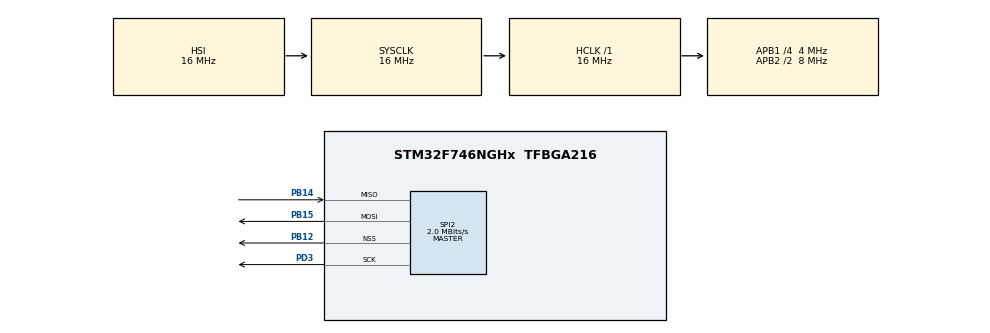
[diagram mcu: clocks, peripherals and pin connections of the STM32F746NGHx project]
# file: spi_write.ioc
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Mcu.Family=STM32F7
Mcu.Name=STM32F746NGHx
Mcu.Package=TFBGA216
NVIC.PriorityGroup=NVIC_PRIORITYGROUP_4
PB12.Mode=NSS_Signal_Hard_Output
PB12.Signal=SPI2_NSS
PB14.Mode=Full_Duplex_Master
PB14.Signal=SPI2_MISO
PB15.Mode=Full_Duplex_Master
PB15.Signal=SPI2_MOSI
PD3.Mode=Full_Duplex_Master
PD3.Signal=SPI2_SCK
PH0/OSC_IN.Mode=HSE-External-Oscillator
PH0/OSC_IN.Signal=RCC_OSC_IN
PH1/OSC_OUT.Mode=HSE-External-Oscillator
PH1/OSC_OUT.Signal=RCC_OSC_OUT
ProjectManager.HeapSize=0x200
ProjectManager.StackSize=0x400
ProjectManager.TargetToolchain=STM32CubeIDE
RCC.AHBFreq_Value=16000000
RCC.APB1CLKDivider=RCC_HCLK_DIV4
RCC.APB1Freq_Value=4000000
RCC.APB1TimFreq_Value=8000000
RCC.APB2CLKDivider=RCC_HCLK_DIV2
RCC.APB2Freq_Value=8000000
RCC.APB2TimFreq_Value=16000000
RCC.CortexFreq_Value=16000000
RCC.HCLKFreq_Value=16000000
RCC.HSE_VALUE=25000000
RCC.HSI_VALUE=16000000
RCC.PLL48CLockSelection=RCC_CLK48SOURCE_PLLSAIP
RCC.PLLI2SN=100
RCC.PLLM=25
RCC.PLLN=400
RCC.PLLQ=9
RCC.PLLSAIN=384
RCC.PLLSAIP=RCC_PLLSAIP_DIV8
RCC.PLLSAIR=5
RCC.PLLSAIRDiv=RCC_PLLSAIDIVR_8
RCC.SDMMCClockSelection=RCC_SDMMC1CLKSOURCE_CLK48
RCC.SYSCLKFreq_VALUE=16000000
RCC.USBFreq_Value=30720000
RCC.VCOOutputFreq_Value=256000000
SPI2.CalculateBaudRate=2.0 MBits/s
SPI2.DataSize=SPI_DATASIZE_8BIT
SPI2.Direction=SPI_DIRECTION_2LINES
SPI2.Mode=SPI_MODE_MASTER
SPI2.VirtualNSS=VM_NSSHARD
SPI2.VirtualType=VM_MASTER
board=STM32F746G-DISCO

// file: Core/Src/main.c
/* USER CODE BEGIN Header */
/**
  ******************************************************************************
  * @file           : main.c
  * @brief          : Main program body
  ******************************************************************************
  * @attention
  *
  * Copyright (c) 2025 STMicroelectronics.
  * All rights reserved.
  *
  * This software is licensed under terms that can be found in the LICENSE file
  * in the root directory of this software component.
  * If no LICENSE file comes with this software, it is provided AS-IS.
  *
  ******************************************************************************
  */
/* USER CODE END Header */
#include "main.h"

SPI_HandleTypeDef hspi2;

/* USER CODE BEGIN PV */
uint16_t read_value=0;
uint16_t debug_buffer=0;
uint8_t target_register=0x91;
uint8_t write_target_register=0x11;
uint8_t write_data= 0x80;
uint8_t write_debug_buffer;
uint8_t write_value;
/* USER CODE END PV */

void SystemClock_Config(void);
static void MX_GPIO_Init(void);
static void MX_SPI2_Init(void);
/* USER CODE BEGIN PFP */
void AD7779_ReadRegister(uint8_t reg);
void AD7779_WriteRegister(uint8_t reg, uint8_t data);
/* USER CODE END PFP */

int main(void)
{

  /* MCU Configuration--------------------------------------------------------*/

  /* Reset of all peripherals, Initializes the Flash interface and the Systick. */
  HAL_Init();

  /* Configure the system clock */
  SystemClock_Config();

  /* Initialize all configured peripherals */
  MX_GPIO_Init();
  MX_SPI2_Init();
  /* USER CODE BEGIN 2 */
  AD7779_ReadRegister(target_register);
  read_value = debug_buffer;
  AD7779_WriteRegister(write_target_register, write_data);
  HAL_Delay(200);
  AD7779_ReadRegister(target_register);
  read_value = debug_buffer;

  /* USER CODE END 2 */

  /* Infinite loop */
  while (1)
  {

  }
}

void SystemClock_Config(void)
{
  RCC_OscInitTypeDef RCC_OscInitStruct = {0};
  RCC_ClkInitTypeDef RCC_ClkInitStruct = {0};

  /** Configure the main internal regulator output voltage
  */
  __HAL_RCC_PWR_CLK_ENABLE();
  __HAL_PWR_VOLTAGESCALING_CONFIG(PWR_REGULATOR_VOLTAGE_SCALE3);

  /** Initializes the RCC Oscillators according to the specified parameters
  * in the RCC_OscInitTypeDef structure.
  */
  RCC_OscInitStruct.OscillatorType = RCC_OSCILLATORTYPE_HSI;
  RCC_OscInitStruct.HSIState = RCC_HSI_ON;
  RCC_OscInitStruct.HSICalibrationValue = RCC_HSICALIBRATION_DEFAULT;
  RCC_OscInitStruct.PLL.PLLState = RCC_PLL_NONE;
  if (HAL_RCC_OscConfig(&RCC_OscInitStruct) != HAL_OK)
  {
    Error_Handler();
  }

  /** Initializes the CPU, AHB and APB buses clocks
  */
  RCC_ClkInitStruct.ClockType = RCC_CLOCKTYPE_HCLK|RCC_CLOCKTYPE_SYSCLK
                              |RCC_CLOCKTYPE_PCLK1|RCC_CLOCKTYPE_PCLK2;
  RCC_ClkInitStruct.SYSCLKSource = RCC_SYSCLKSOURCE_HSI;
  RCC_ClkInitStruct.AHBCLKDivider = RCC_SYSCLK_DIV1;
  RCC_ClkInitStruct.APB1CLKDivider = RCC_HCLK_DIV4;
  RCC_ClkInitStruct.APB2CLKDivider = RCC_HCLK_DIV2;

  if (HAL_RCC_ClockConfig(&RCC_ClkInitStruct, FLASH_LATENCY_0) != HAL_OK)
  {
    Error_Handler();
  }
}

static void MX_SPI2_Init(void)
{

  /* SPI2 parameter configuration*/
  hspi2.Instance = SPI2;
  hspi2.Init.Mode = SPI_MODE_MASTER;
  hspi2.Init.Direction = SPI_DIRECTION_2LINES;
  hspi2.Init.DataSize = SPI_DATASIZE_8BIT;
  hspi2.Init.CLKPolarity = SPI_POLARITY_HIGH;
  hspi2.Init.CLKPhase = SPI_PHASE_2EDGE;
  hspi2.Init.NSS = SPI_NSS_HARD_OUTPUT;
  hspi2.Init.BaudRatePrescaler = SPI_BAUDRATEPRESCALER_2;
  hspi2.Init.FirstBit = SPI_FIRSTBIT_MSB;
  hspi2.Init.TIMode = SPI_TIMODE_DISABLE;
  hspi2.Init.CRCCalculation = SPI_CRCCALCULATION_DISABLE;
  hspi2.Init.CRCPolynomial = 7;
  hspi2.Init.CRCLength = SPI_CRC_LENGTH_DATASIZE;
  hspi2.Init.NSSPMode = SPI_NSS_PULSE_ENABLE;
  if (HAL_SPI_Init(&hspi2) != HAL_OK)
  {
    Error_Handler();
  }

}

static void MX_GPIO_Init(void)
{

  /* GPIO Ports Clock Enable */
  __HAL_RCC_GPIOD_CLK_ENABLE();
  __HAL_RCC_GPIOH_CLK_ENABLE();
  __HAL_RCC_GPIOB_CLK_ENABLE();

  /* USER CODE BEGIN MX_GPIO_Init_2 */
  GPIO_InitTypeDef GPIO_InitStruct = {0};
  __HAL_RCC_GPIOB_CLK_ENABLE();

  GPIO_InitStruct.Pin = GPIO_PIN_12;
  GPIO_InitStruct.Mode = GPIO_MODE_OUTPUT_PP;
  GPIO_InitStruct.Pull = GPIO_NOPULL;
  GPIO_InitStruct.Speed = GPIO_SPEED_FREQ_VERY_HIGH;
  HAL_GPIO_Init(GPIOB, &GPIO_InitStruct);

  HAL_GPIO_WritePin(GPIOB, GPIO_PIN_12, GPIO_PIN_SET);  // Default high (inactive)

  /* USER CODE END MX_GPIO_Init_2 */
}

/* USER CODE BEGIN 4 */
void AD7779_ReadRegister(uint8_t reg)
{
	uint8_t tx_buf[2];
	uint8_t rx_buf[2];

	tx_buf[0] = reg;   // reg = 0x99 (already has read bit set)
	tx_buf[1] = 0x00;  // dummy byte to receive data

	// Full-duplex SPI: transmit 2 bytes, receive 2 bytes
	HAL_SPI_TransmitReceive(&hspi2, tx_buf, rx_buf, 2, HAL_MAX_DELAY);

	// Register data is returned in second byte
	debug_buffer = rx_buf[1];
}
void AD7779_WriteRegister(uint8_t reg, uint8_t data)
{
	uint8_t tx[2];
	uint8_t rx[2];
	tx[0] = reg & 0x7F;  // Ensure write command (bit 7 = 0)
	tx[1]=data;
	HAL_SPI_TransmitReceive(&hspi2, tx, rx, 2, HAL_MAX_DELAY);
	write_debug_buffer = rx[1];

}
/* USER CODE END 4 */

void Error_Handler(void)
{
  __disable_irq();
  while (1)
  {
  }
}
